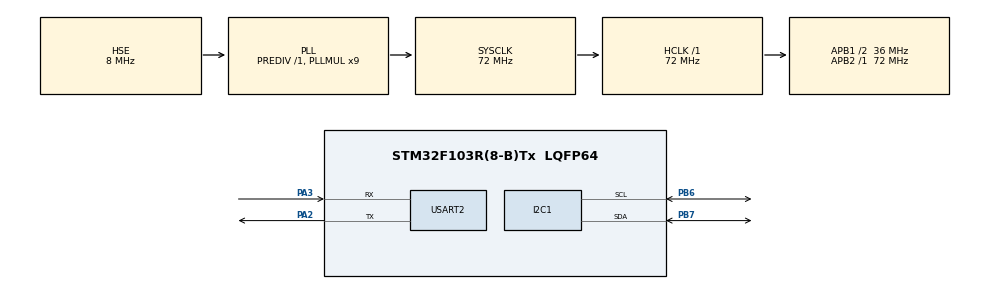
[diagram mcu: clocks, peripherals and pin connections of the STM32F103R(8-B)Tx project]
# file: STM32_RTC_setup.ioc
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Mcu.Family=STM32F1
Mcu.Name=STM32F103R(8-B)Tx
Mcu.Package=LQFP64
NVIC.PriorityGroup=NVIC_PRIORITYGROUP_4
PA2.Mode=Asynchronous
PA2.Signal=USART2_TX
PA3.Mode=Asynchronous
PA3.Signal=USART2_RX
PB6.Mode=I2C
PB6.Signal=I2C1_SCL
PB7.Mode=I2C
PB7.Signal=I2C1_SDA
PC14-OSC32_IN.Mode=LSE-External-Oscillator
PC14-OSC32_IN.Signal=RCC_OSC32_IN
PC15-OSC32_OUT.Mode=LSE-External-Oscillator
PC15-OSC32_OUT.Signal=RCC_OSC32_OUT
PD0-OSC_IN.Mode=HSE-External-Oscillator
PD0-OSC_IN.Signal=RCC_OSC_IN
PD1-OSC_OUT.Mode=HSE-External-Oscillator
PD1-OSC_OUT.Signal=RCC_OSC_OUT
ProjectManager.HeapSize=0x200
ProjectManager.StackSize=0x400
ProjectManager.TargetToolchain=STM32CubeIDE
RCC.AHBFreq_Value=72000000
RCC.APB1CLKDivider=RCC_HCLK_DIV2
RCC.APB1Freq_Value=36000000
RCC.APB1TimFreq_Value=72000000
RCC.APB2Freq_Value=72000000
RCC.APB2TimFreq_Value=72000000
RCC.HCLKFreq_Value=72000000
RCC.PLLMUL=RCC_PLL_MUL9
RCC.PLLSourceVirtual=RCC_PLLSOURCE_HSE
RCC.SYSCLKFreq_VALUE=72000000
RCC.SYSCLKSource=RCC_SYSCLKSOURCE_PLLCLK
RCC.USBFreq_Value=72000000
RTC.Date=22
RTC.Hours=16
RTC.Minutes=39
RTC.Month=RTC_MONTH_DECEMBER
RTC.Seconds=10
RTC.WeekDay=RTC_WEEKDAY_FRIDAY
RTC.Year=23
USART2.VirtualMode=VM_ASYNC
VP_RTC_VS_RTC_Activate.Mode=RTC_Enabled
VP_RTC_VS_RTC_Calendar.Mode=RTC_Calendar
board=custom

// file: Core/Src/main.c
/* USER CODE BEGIN Header */
/**
  ******************************************************************************
  * @file           : main.c
  * @brief          : Main program body
  ******************************************************************************
  * @attention
  *
  * Copyright (c) 2023 STMicroelectronics.
  * All rights reserved.
  *
  * This software is licensed under terms that can be found in the LICENSE file
  * in the root directory of this software component.
  * If no LICENSE file comes with this software, it is provided AS-IS.
  *
  ******************************************************************************
  */
/* USER CODE END Header */
#include "main.h"
#include <time.h>
/* USER CODE BEGIN Includes */
#include <stdio.h>
#include <stdint.h>
#include <string.h>
#include "nmea_parse.h"
//#include "nmea_parse.h"
//#include "debug_io.h"

/* USER CODE END Includes */

/* USER CODE BEGIN PTD */

	char RTC_time[30];
	char RTC_date[30];

/* USER CODE END PTD */

I2C_HandleTypeDef hi2c1;

RTC_HandleTypeDef hrtc;

UART_HandleTypeDef huart2;

/* USER CODE BEGIN PV */

#define DEVICE_ADDRESS (0x42<<1)

/* USER CODE END PV */

void SystemClock_Config(void);
static void MX_GPIO_Init(void);
static void MX_RTC_Init(void);
static void MX_I2C1_Init(void);
static void MX_USART2_UART_Init(void);
/* USER CODE BEGIN PFP */

#ifdef __GNUC__
#define PUTCHAR_PROTOTYPE int __io_putchar(int ch)
#else
#define PUTCHAR_PROTOTYPE int fputc(int ch, FILE *f)
#endif

PUTCHAR_PROTOTYPE
{
  HAL_UART_Transmit(&huart2, (uint8_t *)&ch, 1, HAL_MAX_DELAY);
  return ch;
}

time_t convertToEpochTime(RTC_TimeTypeDef *sTime, RTC_DateTypeDef *sDate);
int lastDayOfMonth(int month, int year);
/* USER CODE END PFP */

/* USER CODE BEGIN 0 */

	RTC_TimeTypeDef sTime;
	RTC_DateTypeDef sDate;

	int isGPSDateTimeSet = 0;

void readNMEA(uint8_t *buffer){
		HAL_I2C_Master_Receive(&hi2c1, DEVICE_ADDRESS, buffer, sizeof(buffer), HAL_MAX_DELAY);
}

void getGPSDateTime(uint8_t *buffer, char *GPSTime, char *GPSDate){
    GPS myData;
    nmea_parse(&myData, buffer);

    // lastMeasure is a null-terminated string and has the format hhmmss.sss
    if(myData.fix == 1 && myData.RMC_Flag == 1) { // Make sure there's a valid fix and that there is an RMC message

        strncpy(GPSTime, myData.lastMeasure, 10); // Copy the GPS time to GPSTime
        GPSTime[10] = '\0'; // Ensure null termination

        strncpy(GPSDate, myData.date, 6);
        GPSDate[6] = '\0';

        // Check if we've already set the RTC time with GPS time

        if (isGPSDateTimeSet == 0) {
            RTC_TimeTypeDef sTime = {0};

            // Manually parsing the hours, minutes, and seconds
            sTime.Hours   = (GPSTime[0] - '0') * 10 + (GPSTime[1] - '0');
            sTime.Minutes = (GPSTime[2] - '0') * 10 + (GPSTime[3] - '0');
            sTime.Seconds = (GPSTime[4] - '0') * 10 + (GPSTime[5] - '0');

            HAL_RTC_SetTime(&hrtc, &sTime, RTC_FORMAT_BIN);

            RTC_DateTypeDef sDate = {0};
            sDate.Date  = (GPSDate[0] - '0') * 10 + (GPSDate[1] - '0');
			sDate.Month = (GPSDate[2] - '0') * 10 + (GPSDate[3] - '0');
			sDate.Year  = (GPSDate[4] - '0') * 10 + (GPSDate[5] - '0');

			HAL_RTC_SetDate(&hrtc, &sDate, RTC_FORMAT_BIN);

            isGPSDateTimeSet = 1;
        }
        else{
        	HAL_RTC_GetTime(&hrtc, &sTime, RTC_FORMAT_BIN);
        	HAL_RTC_GetDate(&hrtc, &sDate, RTC_FORMAT_BIN);

			time_t epochTime = convertToEpochTime(&sTime, &sDate);

	    	printf("Epoch Time: %ld\r\n", (long)epochTime);
        }
    }
}

time_t convertToEpochTime(RTC_TimeTypeDef *sTime, RTC_DateTypeDef *sDate) {
    struct tm t;

    // Populate the tm structure fields from the RTC time and date.
    t.tm_year = sDate->Year + 100;  // Year since 1900, so add 100 to the year from the RTC (which starts at 2000).
    t.tm_mon = sDate->Month - 1;    // tm_mon is 0-11, so subtract 1 from the RTC month (which starts at 1).
    t.tm_mday = sDate->Date;
    t.tm_hour = sTime->Hours;
    t.tm_min = sTime->Minutes;
    t.tm_sec = sTime->Seconds;
    t.tm_isdst = -1;                // Disable daylight saving time adjustments.

    // Subtract 8 hours with rollback feature.
    t.tm_hour -= 8;
    if (t.tm_hour < 0) {
        t.tm_hour += 24;  // Adjust the hour to ensure it's not less than 0.
        t.tm_mday--;      // Decrement the day to reflect the day change.

        // Adjust the month and year if needed when day rolls below 1.
        if (t.tm_mday < 1) {
            t.tm_mon--;  // Decrement the month.
            if (t.tm_mon < 0) { // If month rolls below January
                t.tm_mon = 11; // Set month to December
                t.tm_year--;   // Decrement the year
            }
            // Set day to last day of the new month.
            t.tm_mday = lastDayOfMonth(t.tm_mon, t.tm_year + 1900);
        }
    }

    // Convert to epoch time.
    return mktime(&t);
}

// Function to return the last day of a month
int lastDayOfMonth(int month, int year) {
    // Array to hold the number of days in each month
    int daysInMonth[] = {31, 28, 31, 30, 31, 30, 31, 31, 30, 31, 30, 31};

    // Check for leap year in February
    if (month == 1) { // February
        if ((year % 4 == 0 && year % 100 != 0) || year % 400 == 0) {
            return 29;
        }
    }
    return daysInMonth[month];
}

/* USER CODE END 0 */

int main(void)
{

  /* MCU Configuration--------------------------------------------------------*/

  /* Reset of all peripherals, Initializes the Flash interface and the Systick. */
  HAL_Init();

  /* Configure the system clock */
  SystemClock_Config();

  /* Initialize all configured peripherals */
  MX_GPIO_Init();
  MX_RTC_Init();
  MX_I2C1_Init();
  MX_USART2_UART_Init();
  /* USER CODE BEGIN 2 */
//  DebugIO_Init(&huart1);

  /* USER CODE BEGIN 2 */

  /* USER CODE END 2 */

  /* Infinite loop */
  /* USER CODE BEGIN WHILE */
  while (1)
  {
	  if(HAL_I2C_IsDeviceReady(&hi2c1, DEVICE_ADDRESS, 1, HAL_MAX_DELAY) == HAL_OK){
		  uint8_t receiveBuffer[256]; // The size of all of these buffers is tentative for testing sake, will change later
		  char GPSTime[256];
		  char GPSDate[256];

		  HAL_I2C_Master_Receive(&hi2c1, DEVICE_ADDRESS, receiveBuffer, sizeof(receiveBuffer), HAL_MAX_DELAY);
		  getGPSDateTime(receiveBuffer, GPSTime, GPSDate);

	  }
	  else{
		  printf("I2C not working buddy... do better...\r\n");
	  }
	  HAL_Delay(500);

    /* USER CODE END WHILE */

  }
}

void SystemClock_Config(void)
{
  RCC_OscInitTypeDef RCC_OscInitStruct = {0};
  RCC_ClkInitTypeDef RCC_ClkInitStruct = {0};
  RCC_PeriphCLKInitTypeDef PeriphClkInit = {0};

  /** Initializes the RCC Oscillators according to the specified parameters
  * in the RCC_OscInitTypeDef structure.
  */
  RCC_OscInitStruct.OscillatorType = RCC_OSCILLATORTYPE_LSI|RCC_OSCILLATORTYPE_HSE;
  RCC_OscInitStruct.HSEState = RCC_HSE_ON;
  RCC_OscInitStruct.HSEPredivValue = RCC_HSE_PREDIV_DIV1;
  RCC_OscInitStruct.HSIState = RCC_HSI_ON;
  RCC_OscInitStruct.LSIState = RCC_LSI_ON;
  RCC_OscInitStruct.PLL.PLLState = RCC_PLL_ON;
  RCC_OscInitStruct.PLL.PLLSource = RCC_PLLSOURCE_HSE;
  RCC_OscInitStruct.PLL.PLLMUL = RCC_PLL_MUL9;
  if (HAL_RCC_OscConfig(&RCC_OscInitStruct) != HAL_OK)
  {
    Error_Handler();
  }

  /** Initializes the CPU, AHB and APB buses clocks
  */
  RCC_ClkInitStruct.ClockType = RCC_CLOCKTYPE_HCLK|RCC_CLOCKTYPE_SYSCLK
                              |RCC_CLOCKTYPE_PCLK1|RCC_CLOCKTYPE_PCLK2;
  RCC_ClkInitStruct.SYSCLKSource = RCC_SYSCLKSOURCE_PLLCLK;
  RCC_ClkInitStruct.AHBCLKDivider = RCC_SYSCLK_DIV1;
  RCC_ClkInitStruct.APB1CLKDivider = RCC_HCLK_DIV2;
  RCC_ClkInitStruct.APB2CLKDivider = RCC_HCLK_DIV1;

  if (HAL_RCC_ClockConfig(&RCC_ClkInitStruct, FLASH_LATENCY_2) != HAL_OK)
  {
    Error_Handler();
  }
  PeriphClkInit.PeriphClockSelection = RCC_PERIPHCLK_RTC;
  PeriphClkInit.RTCClockSelection = RCC_RTCCLKSOURCE_LSI;
  if (HAL_RCCEx_PeriphCLKConfig(&PeriphClkInit) != HAL_OK)
  {
    Error_Handler();
  }
}

static void MX_I2C1_Init(void)
{

  hi2c1.Instance = I2C1;
  hi2c1.Init.ClockSpeed = 100000;
  hi2c1.Init.DutyCycle = I2C_DUTYCYCLE_2;
  hi2c1.Init.OwnAddress1 = 0;
  hi2c1.Init.AddressingMode = I2C_ADDRESSINGMODE_7BIT;
  hi2c1.Init.DualAddressMode = I2C_DUALADDRESS_DISABLE;
  hi2c1.Init.OwnAddress2 = 0;
  hi2c1.Init.GeneralCallMode = I2C_GENERALCALL_DISABLE;
  hi2c1.Init.NoStretchMode = I2C_NOSTRETCH_DISABLE;
  if (HAL_I2C_Init(&hi2c1) != HAL_OK)
  {
    Error_Handler();
  }

}

static void MX_RTC_Init(void)
{

  RTC_TimeTypeDef sTime = {0};
  RTC_DateTypeDef DateToUpdate = {0};

  /** Initialize RTC Only
  */
  hrtc.Instance = RTC;
  hrtc.Init.AsynchPrediv = RTC_AUTO_1_SECOND;
  hrtc.Init.OutPut = RTC_OUTPUTSOURCE_ALARM;
  if (HAL_RTC_Init(&hrtc) != HAL_OK)
  {
    Error_Handler();
  }

  /** Initialize RTC and set the Time and Date
  */
//  sTime.Hours = 0x16;
//  sTime.Minutes = 0x39;
//  sTime.Seconds = 0x10;

  if (HAL_RTC_SetTime(&hrtc, &sTime, RTC_FORMAT_BCD) != HAL_OK)
  {
    Error_Handler();
  }
//  DateToUpdate.WeekDay = RTC_WEEKDAY_SATURDAY;
//  DateToUpdate.Month = RTC_MONTH_JANUARY;
//  DateToUpdate.Date = 0x13;
//  DateToUpdate.Year = 0x24;

  if (HAL_RTC_SetDate(&hrtc, &DateToUpdate, RTC_FORMAT_BCD) != HAL_OK)
  {
    Error_Handler();
  }

}

static void MX_USART2_UART_Init(void)
{

  huart2.Instance = USART2;
  huart2.Init.BaudRate = 115200;
  huart2.Init.WordLength = UART_WORDLENGTH_8B;
  huart2.Init.StopBits = UART_STOPBITS_1;
  huart2.Init.Parity = UART_PARITY_NONE;
  huart2.Init.Mode = UART_MODE_TX_RX;
  huart2.Init.HwFlowCtl = UART_HWCONTROL_NONE;
  huart2.Init.OverSampling = UART_OVERSAMPLING_16;
  if (HAL_UART_Init(&huart2) != HAL_OK)
  {
    Error_Handler();
  }

}

static void MX_GPIO_Init(void)
{

  /* GPIO Ports Clock Enable */
  __HAL_RCC_GPIOC_CLK_ENABLE();
  __HAL_RCC_GPIOD_CLK_ENABLE();
  __HAL_RCC_GPIOA_CLK_ENABLE();
  __HAL_RCC_GPIOB_CLK_ENABLE();

}

void Error_Handler(void)
{
  __disable_irq();
  while (1)
  {
  }
}
